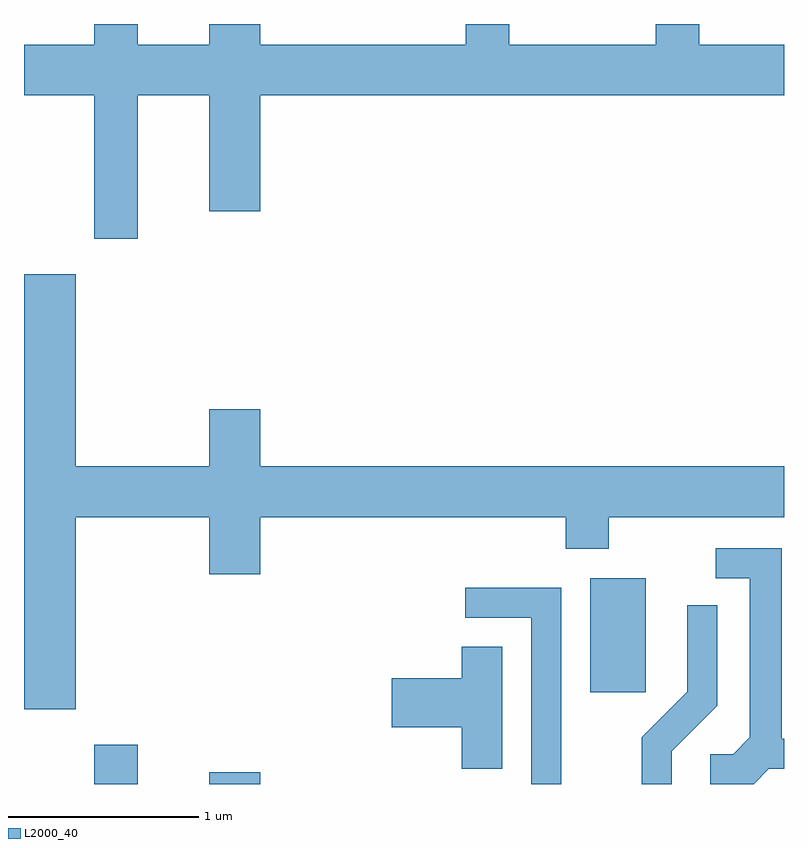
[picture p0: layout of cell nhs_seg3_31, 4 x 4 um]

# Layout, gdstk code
import gdstk
lib = gdstk.Library(unit=1e-6, precision=1e-09)
def R(c, l, rs):  # rectangles x0, y0, x1, y1
    for r in rs: c.add(gdstk.rectangle(r[:2], r[2:], *l))
def P(c, l, *ps):  # polygons
    for p in ps: c.add(gdstk.Polygon(p, *l))
L2000_40 = (2000, 40)

nhs_seg3_31 = lib.new_cell('nhs_seg3_31')
R(nhs_seg3_31, L2000_40, [(185.981,1177.892,186.209,1178.099), (186.586,1177.892,186.854,1177.954), (188.591,1178.376,188.884,1178.974)])
P(nhs_seg3_31, L2000_40, [(186.209,1181.516),(186.586,1181.516),(186.586,1180.906),(186.854,1180.906),(186.854,1181.516),(189.611,1181.516),(189.611,1181.784),(189.164,1181.784),(189.164,1181.892),(188.936,1181.892),(188.936,1181.784),(188.164,1181.784),(188.164,1181.892),(187.936,1181.892),(187.936,1181.784),(186.854,1181.784),(186.854,1181.892),(186.586,1181.892),(186.586,1181.784),(186.209,1181.784),(186.209,1181.892),(185.981,1181.892),(185.981,1181.784),(185.611,1181.784),(185.611,1181.516),(185.981,1181.516),(185.981,1180.761),(186.209,1180.761)],
  [(185.884,1179.296),(186.586,1179.296),(186.586,1178.996),(186.854,1178.996),(186.854,1179.296),(188.461,1179.296),(188.461,1179.131),(188.689,1179.131),(188.689,1179.296),(189.611,1179.296),(189.611,1179.564),(186.854,1179.564),(186.854,1179.864),(186.586,1179.864),(186.586,1179.564),(185.884,1179.564),(185.884,1180.574),(185.611,1180.574),(185.611,1178.286),(185.884,1178.286)],
  [(189.532,1177.971),(189.611,1177.971),(189.611,1178.129),(189.599,1178.129),(189.599,1179.134),(189.253,1179.134),(189.253,1178.976),(189.431,1178.976),(189.431,1178.137),(189.344,1178.049),(189.223,1178.049),(189.223,1177.892),(189.453,1177.892)],
  [(188.439,1178.924),(187.933,1178.924),(187.933,1178.766),(188.281,1178.766),(188.281,1177.892),(188.439,1177.892)],
  [(189.019,1178.064),(189.259,1178.304),(189.259,1178.833),(189.101,1178.833),(189.101,1178.377),(188.861,1178.137),(188.861,1177.892),(189.019,1177.892)],
  [(188.129,1178.614),(187.916,1178.614),(187.916,1178.449),(187.546,1178.449),(187.546,1178.191),(187.916,1178.191),(187.916,1177.971),(188.129,1177.971)])

lib.write_gds('nhs_seg3_31.gds')
